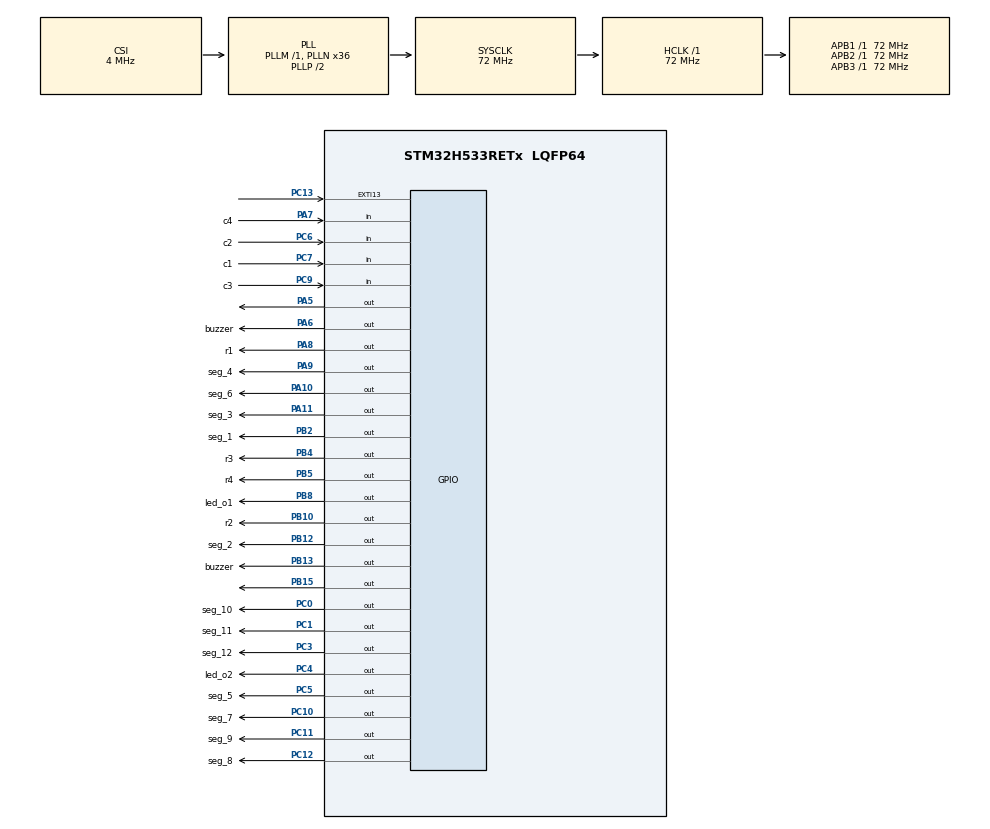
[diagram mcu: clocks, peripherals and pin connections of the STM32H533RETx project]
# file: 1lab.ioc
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BOOTPATH.BootPathName=LEGACY
BOOTPATH.UserSelectedBootPath=LEGACY
CORTEX_M33_NS.userName=CORTEX_M33
Mcu.Family=STM32H5
Mcu.Name=STM32H533RETx
Mcu.Package=LQFP64
NUCLEO-H533RE.BUTTON=1
NUCLEO-H533RE.LD4=true
NUCLEO-H533RE.VCP=true
NVIC.EXTI13_IRQn=true\:0\:0\:false\:false\:true\:false\:true\:true
NVIC.PriorityGroup=NVIC_PRIORITYGROUP_4
PA10.GPIO_Label=seg_6
PA10.Signal=GPIO_Output
PA11.GPIO_Label=seg_3
PA11.Signal=GPIO_Output
PA13(JTMS/SWDIO).GPIO_Label=SWDIO
PA13(JTMS/SWDIO).Signal=DEBUG_JTMS-SWDIO
PA14(JTCK/SWCLK).GPIO_Label=SWCLK
PA14(JTCK/SWCLK).Signal=DEBUG_JTCK-SWCLK
PA15(JTDI).GPIO_Label=JTDI
PA15(JTDI).Signal=DEBUG_JTDI
PA2.Signal=USART2_TX
PA3.Signal=USART2_RX
PA5.Signal=GPIO_Output
PA6.GPIO_Label=buzzer
PA6.Signal=GPIO_Output
PA7.GPIO_Label=c4
PA7.GPIO_PuPd=GPIO_PULLUP
PA7.Signal=GPIO_Input
PA8.GPIO_Label=r1
PA8.Signal=GPIO_Output
PA9.GPIO_Label=seg_4
PA9.Signal=GPIO_Output
PB10.GPIO_Label=r2
PB10.Signal=GPIO_Output
PB12.GPIO_Label=seg_2
PB12.Signal=GPIO_Output
PB13.GPIO_Label=buzzer
PB13.Signal=GPIO_Output
PB15.Signal=GPIO_Output
PB2.GPIO_Label=seg_1
PB2.Signal=GPIO_Output
PB3(JTDO/TRACESWO).GPIO_Label=SWO
PB3(JTDO/TRACESWO).Signal=DEBUG_JTDO-SWO
PB4(NJTRST).GPIO_Label=r3
PB4(NJTRST).Signal=GPIO_Output
PB5.GPIO_Label=r4
PB5.Signal=GPIO_Output
PB8.GPIO_Label=led_o1
PB8.Signal=GPIO_Output
PC0.GPIO_Label=seg_10
PC0.Signal=GPIO_Output
PC1.GPIO_Label=seg_11
PC1.Signal=GPIO_Output
PC10.GPIO_Label=seg_7
PC10.Signal=GPIO_Output
PC11.GPIO_Label=seg_9
PC11.Signal=GPIO_Output
PC12.GPIO_Label=seg_8
PC12.Signal=GPIO_Output
PC13.Signal=GPXTI13
PC3.GPIO_Label=seg_12
PC3.Signal=GPIO_Output
PC4.GPIO_Label=led_o2
PC4.Signal=GPIO_Output
PC5.GPIO_Label=seg_5
PC5.Signal=GPIO_Output
PC6.GPIO_Label=c2
PC6.GPIO_PuPd=GPIO_PULLUP
PC6.Signal=GPIO_Input
PC7.GPIO_Label=c1
PC7.GPIO_PuPd=GPIO_PULLUP
PC7.Signal=GPIO_Input
PC9.GPIO_Label=c3
PC9.GPIO_PuPd=GPIO_PULLUP
PC9.Signal=GPIO_Input
PH0-OSC_IN(PH0).Mode=HSE-External-Oscillator
PH0-OSC_IN(PH0).Signal=RCC_OSC_IN
PH1-OSC_OUT(PH1).Mode=HSE-External-Oscillator
PH1-OSC_OUT(PH1).Signal=RCC_OSC_OUT
ProjectManager.HeapSize=0x200
ProjectManager.StackSize=0x400
ProjectManager.TargetToolchain=STM32CubeIDE
RCC.ADCFreq_Value=72000000
RCC.AHBFreq_Value=72000000
RCC.APB1Freq_Value=72000000
RCC.APB1TimFreq_Value=72000000
RCC.APB2Freq_Value=72000000
RCC.APB2TimFreq_Value=72000000
RCC.APB3Freq_Value=72000000
RCC.CSI_VALUE=4000000
RCC.CortexFreq_Value=72000000
RCC.EPOD_VALUE=4000000
RCC.HCLKFreq_Value=72000000
RCC.HSE_VALUE=25000000
RCC.HSI48_VALUE=48000000
RCC.HSI_VALUE=64000000
RCC.LSE_VALUE=32768
RCC.LSIRC_VALUE=32000
RCC.PLL2FRACN=0
RCC.PLL3FRACN=0
RCC.PLLFRACN=0
RCC.PLLN=36
RCC.SYSCLKFreq_VALUE=72000000
RCC.SYSCLKSource=RCC_SYSCLKSOURCE_PLLCLK
RCC.USBFreq_Value=48000000
RCC.VCOOutputFreq_Value=144000000
TIM1.PeriodNoDither=0xffff-1
TIM1.Prescaler=72-1
VP_BOOTPATH_VS_BOOTPATH.Mode=BP_Activate
VP_CORTEX_M33_NS_VS_Hclk.Mode=Hclk_Mode
VP_MEMORYMAP_VS_MEMORYMAP.Mode=CurAppReg
VP_NUCLEO-H533RE_VS_BSP_COMMON.Mode=COMMON
VP_PWR_VS_LPOM.Mode=PowerOptimisation
VP_PWR_VS_SECSignals.Mode=Security/Privilege
VP_TIM1_VS_ClockSourceINT.Mode=Internal
board=NUCLEO-H533RE

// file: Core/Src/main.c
/* USER CODE BEGIN Header */
/**
  ******************************************************************************
  * @file           : main.c
  * @brief          : Main program body
  ******************************************************************************
  * @attention
  *
  * Copyright (c) 2025 STMicroelectronics.
  * All rights reserved.
  *
  * This software is licensed under terms that can be found in the LICENSE file
  * in the root directory of this software component.
  * If no LICENSE file comes with this software, it is provided AS-IS.
  *
  ******************************************************************************
  */
/* USER CODE END Header */
#include "main.h"

/* USER CODE BEGIN Includes */
#include "LCD1602.h"
#include "libraries.h"
#include "matrix_keypad.h"
/* USER CODE END Includes */

/* USER CODE BEGIN PTD */
// ======== STATE MACHINE STATES ========
// Defines all possible states for the door lock system
typedef enum {
  ST_IDLE = 0,       // Waiting for '*' to start password entry
  ST_COLLECT,        // Collecting digits from the keypad
  ST_VERIFY,         // Checking if the entered code matches
  ST_SUCCESS,        // Correct password entered
  ST_FAILURE         // Incorrect password entered
} LockState;
/* USER CODE END PTD */

/* USER CODE BEGIN PD */
// ======== KEYPAD CONNECTIONS ========

// Row pins configured as outputs
#define R1_PORT GPIOA
#define R1_PIN  GPIO_PIN_8
#define R2_PORT GPIOB
#define R2_PIN  GPIO_PIN_10
#define R3_PORT GPIOB
#define R3_PIN  GPIO_PIN_4
#define R4_PORT GPIOB
#define R4_PIN  GPIO_PIN_5

// Column pins configured as inputs
#define C1_PORT GPIOC
#define C1_PIN  GPIO_PIN_7
#define C2_PORT GPIOC
#define C2_PIN  GPIO_PIN_6
#define C3_PORT GPIOC
#define C3_PIN  GPIO_PIN_9
#define C4_PORT GPIOA
#define C4_PIN  GPIO_PIN_7

// ======== LED CONNECTIONS ========
// Green LED → password correct
#define LED_OK_PORT   GPIOC
#define LED_OK_PIN    led_o2_Pin
// Red LED → password incorrect
#define LED_ERR_PORT  GPIOB
#define LED_ERR_PIN   led_o1_Pin
/* USER CODE END PD */

COM_InitTypeDef BspCOMInit;
TIM_HandleTypeDef htim1;
/* USER CODE BEGIN PV */
// (no persistent variables needed beyond FSM globals)
/* USER CODE END PV */

void SystemClock_Config(void);
static void MX_GPIO_Init(void);
static void MX_TIM1_Init(void);

/* USER CODE BEGIN 0 */

// ===================== 7-SEGMENT DISPLAY HANDLING =====================
// Lookup table for each digit (bits = A B C D E F G DP)
static const uint8_t segmentMap[18] = {
    0b11111100, // 0
    0b01100000, // 1
    0b11011010, // 2
    0b11110010, // 3
    0b01100110, // 4
    0b10110110, // 5
    0b10111110, // 6
    0b11100000, // 7
    0b11111110, // 8
    0b11110110, // 9
    0b11101110, // A
    0b00111110, // b
    0b10011100, // C
    0b01111010, // d
    0b10011110, // E
    0b10001110, // F
    0b00000010, // '-' (used as placeholder)
    0b00000000  // blank
};

// Displays a single digit on one of the four 7-segment positions
static void DisplayDigit(int pos, int value)
{
    // Disable all digits before updating (prevents ghosting)
    HAL_GPIO_WritePin(GPIOC, seg_12_Pin | seg_9_Pin | seg_8_Pin, GPIO_PIN_SET);
    HAL_GPIO_WritePin(GPIOA, GPIO_PIN_10, GPIO_PIN_SET);

    // Select the segment pattern for the given value
    uint8_t segs = segmentMap[(value >= 0 && value < 18) ? value : 17];

    // Write segment states (A–G + DP)
    HAL_GPIO_WritePin(seg_11_GPIO_Port, seg_11_Pin, (segs & (1 << 7)) ? GPIO_PIN_SET : GPIO_PIN_RESET);
    HAL_GPIO_WritePin(seg_7_GPIO_Port,  seg_7_Pin,  (segs & (1 << 6)) ? GPIO_PIN_SET : GPIO_PIN_RESET);
    HAL_GPIO_WritePin(seg_4_GPIO_Port,  seg_4_Pin,  (segs & (1 << 5)) ? GPIO_PIN_SET : GPIO_PIN_RESET);
    HAL_GPIO_WritePin(seg_2_GPIO_Port,  seg_2_Pin,  (segs & (1 << 4)) ? GPIO_PIN_SET : GPIO_PIN_RESET);
    HAL_GPIO_WritePin(seg_1_GPIO_Port,  seg_1_Pin,  (segs & (1 << 3)) ? GPIO_PIN_SET : GPIO_PIN_RESET);
    HAL_GPIO_WritePin(seg_10_GPIO_Port, seg_10_Pin, (segs & (1 << 2)) ? GPIO_PIN_SET : GPIO_PIN_RESET);
    HAL_GPIO_WritePin(seg_5_GPIO_Port,  seg_5_Pin,  (segs & (1 << 1)) ? GPIO_PIN_SET : GPIO_PIN_RESET);
    HAL_GPIO_WritePin(seg_3_GPIO_Port,  seg_3_Pin,  (segs & (1 << 0)) ? GPIO_PIN_SET : GPIO_PIN_RESET);

    // Enable only the selected digit (active low)
    if (pos == 0) HAL_GPIO_WritePin(seg_12_GPIO_Port, seg_12_Pin, GPIO_PIN_RESET);
    if (pos == 1) HAL_GPIO_WritePin(seg_9_GPIO_Port,  seg_9_Pin,  GPIO_PIN_RESET);
    if (pos == 2) HAL_GPIO_WritePin(seg_8_GPIO_Port,  seg_8_Pin,  GPIO_PIN_RESET);
    if (pos == 3) HAL_GPIO_WritePin(GPIOA,            GPIO_PIN_10,GPIO_PIN_RESET);

    // Ensure last digit line (PA10) stays off when not selected
    if (pos != 3)
        HAL_GPIO_WritePin(GPIOA, GPIO_PIN_10, GPIO_PIN_SET);
}

// ===================== MATRIX KEYPAD SCAN =====================
// Scans the 4x4 keypad and returns the pressed key (char)
static char read_keypad(void)
{
    // Set all rows HIGH before scanning
    HAL_GPIO_WritePin(GPIOA, GPIO_PIN_8, GPIO_PIN_SET);
    HAL_GPIO_WritePin(GPIOB, GPIO_PIN_10, GPIO_PIN_SET);
    HAL_GPIO_WritePin(GPIOB, GPIO_PIN_4, GPIO_PIN_SET);
    HAL_GPIO_WritePin(GPIOB, GPIO_PIN_5, GPIO_PIN_SET);

    // Macro to check columns efficiently
    #define CHECK_COL(col_port, col_pin, value) \
        if (!HAL_GPIO_ReadPin(col_port, col_pin)) { while(!HAL_GPIO_ReadPin(col_port, col_pin)); return value; }

    // Scan each row one by one
    HAL_GPIO_WritePin(GPIOA, GPIO_PIN_8, GPIO_PIN_RESET); HAL_Delay(2);
    CHECK_COL(GPIOC, GPIO_PIN_7, '1');
    CHECK_COL(GPIOC, GPIO_PIN_6, '2');
    CHECK_COL(GPIOC, GPIO_PIN_9, '3');
    CHECK_COL(GPIOA, GPIO_PIN_7, 'A');
    HAL_GPIO_WritePin(GPIOA, GPIO_PIN_8, GPIO_PIN_SET);

    HAL_GPIO_WritePin(GPIOB, GPIO_PIN_10, GPIO_PIN_RESET); HAL_Delay(2);
    CHECK_COL(GPIOC, GPIO_PIN_7, '4');
    CHECK_COL(GPIOC, GPIO_PIN_6, '5');
    CHECK_COL(GPIOC, GPIO_PIN_9, '6');
    CHECK_COL(GPIOA, GPIO_PIN_7, 'B');
    HAL_GPIO_WritePin(GPIOB, GPIO_PIN_10, GPIO_PIN_SET);

    HAL_GPIO_WritePin(GPIOB, GPIO_PIN_4, GPIO_PIN_RESET); HAL_Delay(2);
    CHECK_COL(GPIOC, GPIO_PIN_7, '7');
    CHECK_COL(GPIOC, GPIO_PIN_6, '8');
    CHECK_COL(GPIOC, GPIO_PIN_9, '9');
    CHECK_COL(GPIOA, GPIO_PIN_7, 'C');
    HAL_GPIO_WritePin(GPIOB, GPIO_PIN_4, GPIO_PIN_SET);

    HAL_GPIO_WritePin(GPIOB, GPIO_PIN_5, GPIO_PIN_RESET); HAL_Delay(2);
    CHECK_COL(GPIOC, GPIO_PIN_7, '*');
    CHECK_COL(GPIOC, GPIO_PIN_6, '0');
    CHECK_COL(GPIOC, GPIO_PIN_9, '#');
    CHECK_COL(GPIOA, GPIO_PIN_7, 'D');
    HAL_GPIO_WritePin(GPIOB, GPIO_PIN_5, GPIO_PIN_SET);

    return 0; // No key pressed
}

// ===================== DOOR LOCK STATE MACHINE =====================
// Password configuration
static const int PASS_LEN = 4;
static const int passcode[4] = {1, 2, 3, 4};

// Global FSM variables
static volatile LockState state = ST_IDLE;
static int buf[4];
static int idx = 0;
static char last_key_seen = 0;

// Clears current input buffer
static void clear_input(void)
{
    for (int i = 0; i < 4; ++i) buf[i] = -1;
    idx = 0;
}

// Turns off both LEDs
static void leds_off(void)
{
    HAL_GPIO_WritePin(LED_OK_PORT,  LED_OK_PIN,  GPIO_PIN_RESET);
    HAL_GPIO_WritePin(LED_ERR_PORT, LED_ERR_PIN, GPIO_PIN_RESET);
}

/* USER CODE END 0 */

int main(void)
{
  HAL_Init();
  SystemClock_Config();
  MX_GPIO_Init();
  MX_TIM1_Init();

  /* USER CODE BEGIN 2 */
  USER_MATRIX_KEYPAD_Init();
  HAL_TIM_Base_Start(&htim1);
  leds_off();
  clear_input();
  state = ST_IDLE;
  /* USER CODE END 2 */

  while (1)
  {
    // --- DISPLAY MULTIPLEXING ---
    // Refresh all digits continuously to keep display visible
    HAL_GPIO_WritePin(GPIOC, seg_12_Pin | seg_9_Pin | seg_8_Pin, GPIO_PIN_RESET);
    HAL_GPIO_WritePin(GPIOA, GPIO_PIN_10, GPIO_PIN_RESET);

    for (int repeat = 0; repeat < 3; repeat++) { // repeat for better brightness
        for (int pos = 0; pos < 4; pos++) {
            int val = (pos < idx) ? buf[pos] : 17; // blank unused digits
            DisplayDigit(pos, val);
            HAL_Delay(1);
        }
    }

    // --- READ KEYPAD INPUT ---
    char k = read_keypad();
    if (k == 0) { last_key_seen = 0; continue; }   // no key pressed
    if (k == last_key_seen) { continue; }          // ignore hold
    last_key_seen = k;                             // detect new press

    // --- FINITE STATE MACHINE LOGIC ---
    switch (state)
    {
        case ST_IDLE:
            leds_off();
            if (k == '*') {
                clear_input();     // start new input sequence
                state = ST_COLLECT;
            }
            break;

        case ST_COLLECT:
            if (k >= '0' && k <= '9') {
                if (idx < PASS_LEN) {
                    buf[idx++] = (k - '0');  // store pressed digit
                    HAL_Delay(5);            // short delay for display update
                }
            } else if (k == '*') {
                if (idx == PASS_LEN) state = ST_VERIFY;  // proceed if 4 digits entered
            } else if (k == '#') {
                clear_input();   // clear buffer if user presses '#'
            }
            break;

        case ST_VERIFY:
        {
            int match = 1;
            for (int i = 0; i < PASS_LEN; ++i) {
                if (buf[i] != passcode[i]) { match = 0; break; }
            }
            if (match) {
                HAL_GPIO_WritePin(LED_OK_PORT, LED_OK_PIN, GPIO_PIN_SET);
                HAL_GPIO_WritePin(LED_ERR_PORT, LED_ERR_PIN, GPIO_PIN_RESET);
                state = ST_SUCCESS;
            } else {
                HAL_GPIO_WritePin(LED_OK_PORT, LED_OK_PIN, GPIO_PIN_RESET);
                HAL_GPIO_WritePin(LED_ERR_PORT, LED_ERR_PIN, GPIO_PIN_SET);
                state = ST_FAILURE;
            }
        }
        break;

        case ST_SUCCESS:
            // Remains on success state until user restarts with '*'
            if (k == '*') {
                leds_off();
                clear_input();
                state = ST_COLLECT;
            }
            break;

        case ST_FAILURE:
            // Show red LED for 2 seconds, then return to idle
            HAL_Delay(2000);
            leds_off();
            clear_input();
            state = ST_IDLE;
            break;
    }
  }
}
/* USER CODE END 3 */

void SystemClock_Config(void)
{
  RCC_OscInitTypeDef RCC_OscInitStruct = {0};
  RCC_ClkInitTypeDef RCC_ClkInitStruct = {0};

  /** Configure the main internal regulator output voltage
  */
  __HAL_PWR_VOLTAGESCALING_CONFIG(PWR_REGULATOR_VOLTAGE_SCALE3);

  while(!__HAL_PWR_GET_FLAG(PWR_FLAG_VOSRDY)) {}

  /** Initializes the RCC Oscillators according to the specified parameters
  * in the RCC_OscInitTypeDef structure.
  */
  RCC_OscInitStruct.OscillatorType = RCC_OSCILLATORTYPE_CSI;
  RCC_OscInitStruct.CSIState = RCC_CSI_ON;
  RCC_OscInitStruct.CSICalibrationValue = RCC_CSICALIBRATION_DEFAULT;
  RCC_OscInitStruct.PLL.PLLState = RCC_PLL_ON;
  RCC_OscInitStruct.PLL.PLLSource = RCC_PLL1_SOURCE_CSI;
  RCC_OscInitStruct.PLL.PLLM = 1;
  RCC_OscInitStruct.PLL.PLLN = 36;
  RCC_OscInitStruct.PLL.PLLP = 2;
  RCC_OscInitStruct.PLL.PLLQ = 2;
  RCC_OscInitStruct.PLL.PLLR = 2;
  RCC_OscInitStruct.PLL.PLLRGE = RCC_PLL1_VCIRANGE_2;
  RCC_OscInitStruct.PLL.PLLVCOSEL = RCC_PLL1_VCORANGE_WIDE;
  RCC_OscInitStruct.PLL.PLLFRACN = 0;
  if (HAL_RCC_OscConfig(&RCC_OscInitStruct) != HAL_OK)
  {
    Error_Handler();
  }

  /** Initializes the CPU, AHB and APB buses clocks
  */
  RCC_ClkInitStruct.ClockType = RCC_CLOCKTYPE_HCLK|RCC_CLOCKTYPE_SYSCLK
                              |RCC_CLOCKTYPE_PCLK1|RCC_CLOCKTYPE_PCLK2
                              |RCC_CLOCKTYPE_PCLK3;
  RCC_ClkInitStruct.SYSCLKSource = RCC_SYSCLKSOURCE_PLLCLK;
  RCC_ClkInitStruct.AHBCLKDivider = RCC_SYSCLK_DIV1;
  RCC_ClkInitStruct.APB1CLKDivider = RCC_HCLK_DIV1;
  RCC_ClkInitStruct.APB2CLKDivider = RCC_HCLK_DIV1;
  RCC_ClkInitStruct.APB3CLKDivider = RCC_HCLK_DIV1;

  if (HAL_RCC_ClockConfig(&RCC_ClkInitStruct, FLASH_LATENCY_3) != HAL_OK)
  {
    Error_Handler();
  }

  /** Configure the programming delay
  */
  __HAL_FLASH_SET_PROGRAM_DELAY(FLASH_PROGRAMMING_DELAY_1);
}

static void MX_TIM1_Init(void)
{

  TIM_ClockConfigTypeDef sClockSourceConfig = {0};
  TIM_MasterConfigTypeDef sMasterConfig = {0};

  htim1.Instance = TIM1;
  htim1.Init.Prescaler = 72-1;
  htim1.Init.CounterMode = TIM_COUNTERMODE_UP;
  htim1.Init.Period = 65534;
  htim1.Init.ClockDivision = TIM_CLOCKDIVISION_DIV1;
  htim1.Init.RepetitionCounter = 0;
  htim1.Init.AutoReloadPreload = TIM_AUTORELOAD_PRELOAD_DISABLE;
  if (HAL_TIM_Base_Init(&htim1) != HAL_OK)
  {
    Error_Handler();
  }
  sClockSourceConfig.ClockSource = TIM_CLOCKSOURCE_INTERNAL;
  if (HAL_TIM_ConfigClockSource(&htim1, &sClockSourceConfig) != HAL_OK)
  {
    Error_Handler();
  }
  sMasterConfig.MasterOutputTrigger = TIM_TRGO_RESET;
  sMasterConfig.MasterOutputTrigger2 = TIM_TRGO2_RESET;
  sMasterConfig.MasterSlaveMode = TIM_MASTERSLAVEMODE_DISABLE;
  if (HAL_TIMEx_MasterConfigSynchronization(&htim1, &sMasterConfig) != HAL_OK)
  {
    Error_Handler();
  }

}

static void MX_GPIO_Init(void)
{
  GPIO_InitTypeDef GPIO_InitStruct = {0};

  /* GPIO Ports Clock Enable */
  __HAL_RCC_GPIOH_CLK_ENABLE();
  __HAL_RCC_GPIOC_CLK_ENABLE();
  __HAL_RCC_GPIOA_CLK_ENABLE();
  __HAL_RCC_GPIOB_CLK_ENABLE();

  /*Configure GPIO pin Output Level */
  HAL_GPIO_WritePin(GPIOC, seg_10_Pin|seg_11_Pin|seg_12_Pin|led_o2_Pin
                          |seg_5_Pin|seg_7_Pin|seg_9_Pin|seg_8_Pin, GPIO_PIN_RESET);

  /*Configure GPIO pin Output Level */
  HAL_GPIO_WritePin(GPIOA, buzzer_Pin|r1_Pin|seg_4_Pin|seg_6_Pin
                          |seg_3_Pin, GPIO_PIN_RESET);

  /*Configure GPIO pin Output Level */
  HAL_GPIO_WritePin(GPIOB, seg_1_Pin|r2_Pin|seg_2_Pin|buzzerB13_Pin
                          |GPIO_PIN_15|r3_Pin|r4_Pin|led_o1_Pin, GPIO_PIN_RESET);

  /*Configure GPIO pins : seg_10_Pin seg_11_Pin seg_12_Pin led_o2_Pin
                           seg_5_Pin seg_7_Pin seg_9_Pin seg_8_Pin */
  GPIO_InitStruct.Pin = seg_10_Pin|seg_11_Pin|seg_12_Pin|led_o2_Pin
                          |seg_5_Pin|seg_7_Pin|seg_9_Pin|seg_8_Pin;
  GPIO_InitStruct.Mode = GPIO_MODE_OUTPUT_PP;
  GPIO_InitStruct.Pull = GPIO_NOPULL;
  GPIO_InitStruct.Speed = GPIO_SPEED_FREQ_LOW;
  HAL_GPIO_Init(GPIOC, &GPIO_InitStruct);

  /*Configure GPIO pins : buzzer_Pin r1_Pin seg_4_Pin seg_6_Pin
                           seg_3_Pin */
  GPIO_InitStruct.Pin = buzzer_Pin|r1_Pin|seg_4_Pin|seg_6_Pin
                          |seg_3_Pin;
  GPIO_InitStruct.Mode = GPIO_MODE_OUTPUT_PP;
  GPIO_InitStruct.Pull = GPIO_NOPULL;
  GPIO_InitStruct.Speed = GPIO_SPEED_FREQ_LOW;
  HAL_GPIO_Init(GPIOA, &GPIO_InitStruct);

  /*Configure GPIO pin : c4_Pin */
  GPIO_InitStruct.Pin = c4_Pin;
  GPIO_InitStruct.Mode = GPIO_MODE_INPUT;
  GPIO_InitStruct.Pull = GPIO_PULLUP;
  HAL_GPIO_Init(c4_GPIO_Port, &GPIO_InitStruct);

  /*Configure GPIO pins : seg_1_Pin r2_Pin seg_2_Pin buzzerB13_Pin
                           PB15 r3_Pin r4_Pin led_o1_Pin */
  GPIO_InitStruct.Pin = seg_1_Pin|r2_Pin|seg_2_Pin|buzzerB13_Pin
                          |GPIO_PIN_15|r3_Pin|r4_Pin|led_o1_Pin;
  GPIO_InitStruct.Mode = GPIO_MODE_OUTPUT_PP;
  GPIO_InitStruct.Pull = GPIO_NOPULL;
  GPIO_InitStruct.Speed = GPIO_SPEED_FREQ_LOW;
  HAL_GPIO_Init(GPIOB, &GPIO_InitStruct);

  /*Configure GPIO pins : c2_Pin c1_Pin c3_Pin */
  GPIO_InitStruct.Pin = c2_Pin|c1_Pin|c3_Pin;
  GPIO_InitStruct.Mode = GPIO_MODE_INPUT;
  GPIO_InitStruct.Pull = GPIO_PULLUP;
  HAL_GPIO_Init(GPIOC, &GPIO_InitStruct);

}

void Error_Handler(void)
{
  __disable_irq();
  while (1)
  {
  }
}
